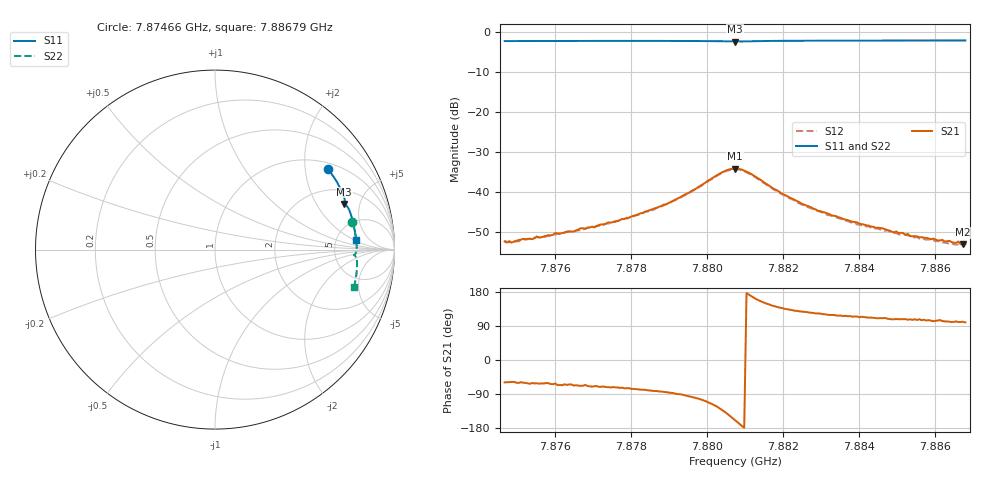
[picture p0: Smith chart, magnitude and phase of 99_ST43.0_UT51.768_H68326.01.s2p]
#  HZ  S  DB  R  50.00
! Rohde & Schwarz Vector Network Analyzer
! Rohde-Schwarz,ZNB20-2Port,1311601062101988,3.16
! Created: UTC 1/12/2023, 6:36:35 PM
! freq[Hz]  db:S11  ang:S11  db:S21  ang:S21  db:S12  ang:S12  db:S22  ang:S22
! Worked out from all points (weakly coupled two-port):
!   201 points, 7.87466 GHz to 7.88679 GHz, reference 50 ohm
!   highest |S21| = -34.15 dB at 7.88073 GHz (marker M1); lowest = -53.1 dB at 7.88673 GHz (marker M2)
!   lowest |S11| = -2.3 dB at 7.88073 GHz (marker M3), VSWR 7.45, Z = 146 + j178 ohm
!   |S11| at or under -10 dB: nowhere
!   |S22| runs from -2.2 to -1.9 dB; largest |S21 - S12| = 0.0013
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7.874661e9  -2.24 35.5  -52.35 -59.1  -52.13 -61.8  -2.15 11.5
7.874843e9  -2.23 35.0  -52.63 -58.1  -52.23 -62.4  -2.13 11.0
7.875025e9  -2.23 34.5  -52.00 -60.8  -52.37 -64.1  -2.13 10.6
7.87648e9  -2.21 30.5  -49.89 -67.5  -49.82 -70.1  -2.09 7.1
7.876723e9  -2.20 29.8  -49.04 -67.8  -49.38 -71.6  -2.08 6.6
7.877026e9  -2.20 29.0  -48.82 -69.2  -48.64 -73.0  -2.07 5.8
7.877936e9  -2.19 26.5  -46.41 -74.3  -46.45 -78.9  -2.05 3.7
7.878724e9  -2.18 24.3  -43.65 -83.0  -43.86 -86.3  -2.05 1.9
7.879513e9  -2.20 22.1  -40.15 -96.0  -40.25 -98.9  -2.07 -0.1
7.880362e9  -2.30 19.8  -35.15 -130.3  -35.36 -133.7  -2.16 -2.0
7.880726e9  -2.35 19.4  -34.15 -158.6  -34.28 -162.2  -2.21 -2.2
7.88109e9  -2.30 19.0  -35.13 172.5  -35.38 169.3  -2.16 -2.4
7.882e9  -2.17 16.7  -40.57 136.0  -40.77 133.0  -2.02 -4.4
7.882788e9  -2.13 14.5  -44.13 124.3  -44.29 120.9  -1.98 -6.2
7.883941e9  -2.11 11.4  -47.59 114.8  -48.13 111.5  -1.95 -8.9
7.88479e9  -2.10 9.1  -49.59 108.1  -49.88 105.7  -1.94 -10.7
7.885275e9  -2.10 7.9  -50.47 106.3  -50.86 103.9  -1.93 -11.8
7.885336e9  -2.09 7.7  -50.99 107.4  -50.95 102.6  -1.92 -11.9
7.886488e9  -2.08 4.7  -52.67 100.7  -53.07 98.8  -1.92 -14.5
7.886609e9  -2.09 4.3  -52.36 100.0  -53.06 97.7  -1.92 -14.7
7.886731e9  -2.08 4.1  -53.10 100.9  -53.35 96.3  -1.92 -15.0
7.886791e9  -2.08 3.9  -53.01 99.2  -53.52 97.3  -1.92 -15.1
